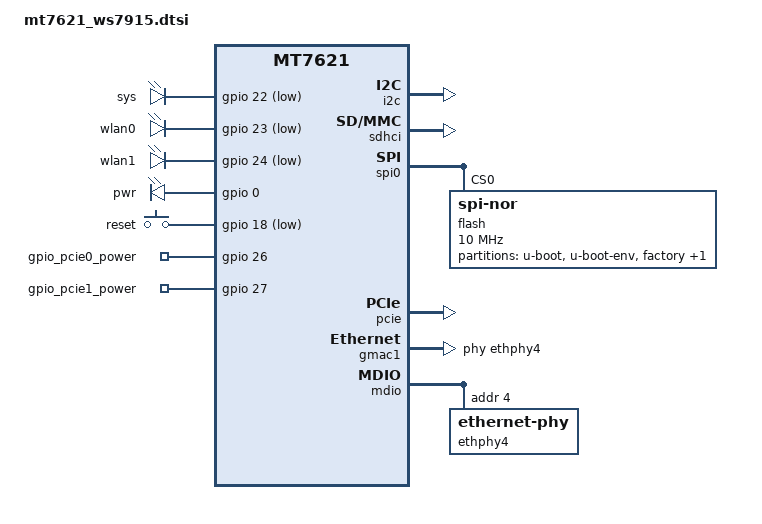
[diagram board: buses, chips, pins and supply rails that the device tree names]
// SPDX-License-Identifier: BSD-3-Clause
/*
 *  Copyright(c) 2017 Kristian Evensen <kristian.evensen@gmail.com>.
 *  Copyright(c) 2017 Piotr Dymacz <pepe2k@gmail.com>.
 *  All rights reserved.
 */

#include "mt7621.dtsi"

#include <dt-bindings/gpio/gpio.h>
#include <dt-bindings/input/input.h>

/ {
	compatible = "huasifei,ws7915", "mediatek,mt7621-soc";

	aliases {
		led-boot = &led_sys;
		led-failsafe = &led_sys;
		led-running = &led_pwr;
		led-upgrade = &led_sys;
		label-mac-device = &gmac0;
	};

	chosen {
		bootargs = "console=ttyS0,115200";
	};

	leds {
		compatible = "gpio-leds";
		pinctrl-names = "default";

		led_sys: sys {
			label = "sys";
			gpios = <&gpio 22 GPIO_ACTIVE_LOW>;
		};

		led_wlan0: wlan0 {
			label = "wlan0";
			gpios = <&gpio 23 GPIO_ACTIVE_LOW>;
		};

		led_wlan1: wlan1 {
			label = "wlan1";
			gpios = <&gpio 24 GPIO_ACTIVE_LOW>;
		};
		
		led_pwr: pwr {
			label = "pwr";
			gpios = <&gpio 0 GPIO_ACTIVE_HIGH>;
		};
		
	};

	keys {
		compatible = "gpio-keys-polled";
		poll-interval = <50>;
		pinctrl-names = "default";

		reset {
			label = "reset";
			gpios = <&gpio 18 GPIO_ACTIVE_LOW>;
			linux,code = <KEY_RESTART>;
		};
	};

	gpio-export {
		compatible = "gpio-export";
		#size-cells = <0>;
 
		gpio_pcie0_power {
			gpio-export,output = <1>;
			gpios = <&gpio 26 GPIO_ACTIVE_HIGH>;
		};
		
		gpio_pcie1_power {
			gpio-export,output = <1>;
			gpios = <&gpio 27 GPIO_ACTIVE_HIGH>;
		};
	};

};

&i2c {
	status = "okay";
};

&sdhci {
	status = "okay";
};

&spi0 {
	status = "okay";

	flash@0 {
		compatible = "jedec,spi-nor";
		reg = <0>;
		spi-max-frequency = <10000000>;

		partitions {
			compatible = "fixed-partitions";
			#address-cells = <1>;
			#size-cells = <1>;

			partition@0 {
				label = "u-boot";
				reg = <0x0 0x30000>;
				read-only;
			};

			partition@30000 {
				label = "u-boot-env";
				reg = <0x30000 0x10000>;
				read-only;
			};

			factory: partition@40000 {
				label = "factory";
				reg = <0x40000 0x10000>;
				
				compatible = "nvmem-cells";
				#address-cells = <1>;
				#size-cells = <1>;
			};

			firmware: partition@50000 {
				compatible = "denx,uimage";
				label = "firmware";
			};
		};
	};
};

&pcie {
	status = "okay";
};

&pcie1 {
	wifi@0,0 {
		reg = <0x0 0 0 0 0>;
		mediatek,mtd-eeprom = <&factory 0x00>;
		nvmem-cells = <&macaddr_factory_004>;
		nvmem-cell-names = "mac-address";
		mac-address-increment = <1>;
	};
};

&gmac0 {
	nvmem-cells = <&macaddr_factory_004>;
	nvmem-cell-names = "mac-address";
	mac-address-increment = <3>;
};

&gmac1 {
	status = "okay";
	label = "wan";
	phy-handle = <&ethphy4>;

	nvmem-cells = <&macaddr_factory_004>;
	nvmem-cell-names = "mac-address";
	mac-address-increment = <4>;
};

&mdio {
	ethphy4: ethernet-phy@4 {
		reg = <4>;
	};
};

&switch0 {
	ports {

		port@0 {
			status = "okay";
			label = "lan1";
		};

		port@1 {
			status = "okay";
			label = "lan2";
		};

		port@2 {
			status = "okay";
			label = "lan3";
		};

		port@3 {
			status = "okay";
			label = "lan4";
		};
	};
};

&state_default {
	gpio {
		groups = "i2c", "jtag", "wdt";
		function = "gpio";
	};
};

&factory {
	compatible = "nvmem-cells";
	#address-cells = <1>;
	#size-cells = <1>;

	macaddr_factory_004: macaddr@004 {
		reg = <0x004 0x6>;
	};
};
